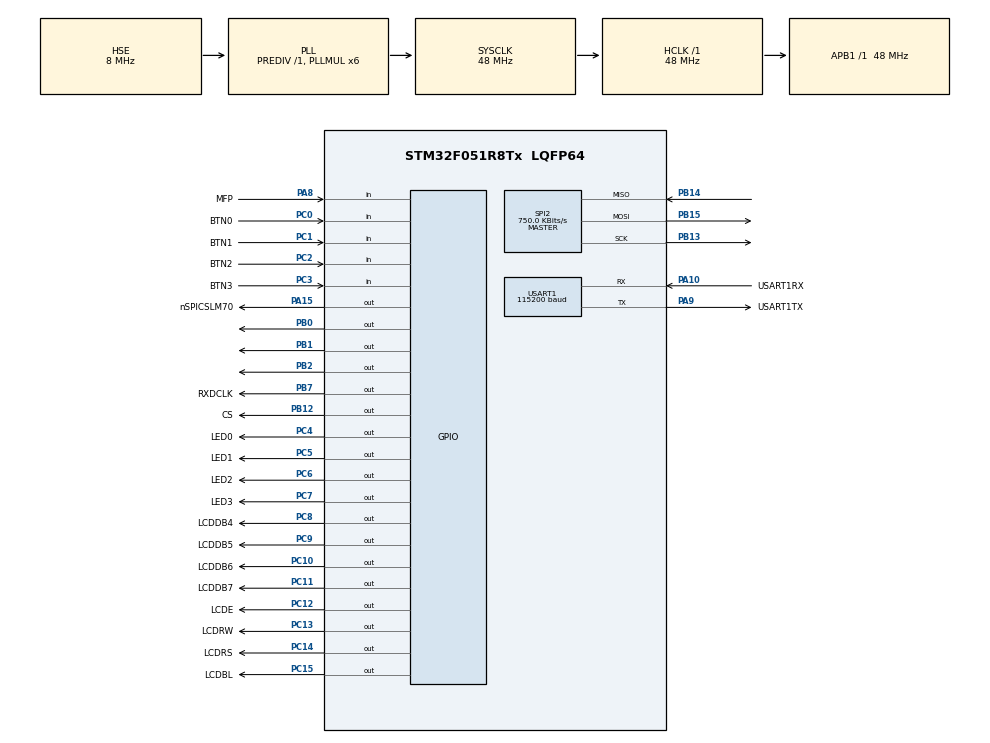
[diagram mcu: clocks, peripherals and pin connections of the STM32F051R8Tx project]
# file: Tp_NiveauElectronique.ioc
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Mcu.Family=STM32F0
Mcu.Name=STM32F051R8Tx
Mcu.Package=LQFP64
NVIC.TIM6_DAC_IRQn=true\:0\:0\:false\:false\:true\:true\:true
PA0.GPIO_Label=AI0
PA0.Signal=ADC_IN0
PA10.GPIO_Label=USART1RX
PA10.Mode=Asynchronous
PA10.Signal=USART1_RX
PA11.GPIO_Label=USART1CTS
PA11.Signal=USART1_CTS
PA12.GPIO_Label=USART1RTS
PA12.Signal=USART1_RTS
PA13.Mode=Serial_Wire
PA13.Signal=SYS_SWDIO
PA14.Mode=Serial_Wire
PA14.Signal=SYS_SWCLK
PA15.GPIO_Label=nSPICSLM70
PA15.PinState=GPIO_PIN_SET
PA15.Signal=GPIO_Output
PA5.GPIO_Label=SPISCK
PA5.Signal=SPI1_SCK
PA6.GPIO_Label=SPIMISO
PA6.Signal=SPI1_MISO
PA7.GPIO_Label=SPIMOSI
PA7.Signal=SPI1_MOSI
PA8.GPIO_Label=MFP
PA8.Signal=GPIO_Input
PA9.GPIO_Label=USART1TX
PA9.Mode=Asynchronous
PA9.Signal=USART1_TX
PB0.Signal=GPIO_Output
PB1.Signal=GPIO_Output
PB12.GPIO_Label=CS
PB12.Signal=GPIO_Output
PB13.GPIO_PuPd=GPIO_NOPULL
PB13.Mode=Full_Duplex_Master
PB13.Signal=SPI2_SCK
PB14.Mode=Full_Duplex_Master
PB14.Signal=SPI2_MISO
PB15.Mode=Full_Duplex_Master
PB15.Signal=SPI2_MOSI
PB2.Signal=GPIO_Output
PB7.GPIO_Label=RXDCLK
PB7.Signal=GPIO_Output
PC0.GPIO_Label=BTN0
PC0.Signal=GPIO_Input
PC1.GPIO_Label=BTN1
PC1.Signal=GPIO_Input
PC10.GPIO_Label=LCDDB6
PC10.Signal=GPIO_Output
PC11.GPIO_Label=LCDDB7
PC11.Signal=GPIO_Output
PC12.GPIO_Label=LCDE
PC12.Signal=GPIO_Output
PC13.GPIO_Label=LCDRW
PC13.Signal=GPIO_Output
PC14-OSC32_IN.GPIO_Label=LCDRS
PC14-OSC32_IN.Signal=GPIO_Output
PC15-OSC32_OUT.GPIO_Label=LCDBL
PC15-OSC32_OUT.Signal=GPIO_Output
PC2.GPIO_Label=BTN2
PC2.Signal=GPIO_Input
PC3.GPIO_Label=BTN3
PC3.Signal=GPIO_Input
PC4.GPIO_Label=LED0
PC4.PinState=GPIO_PIN_SET
PC4.Signal=GPIO_Output
PC5.GPIO_Label=LED1
PC5.PinState=GPIO_PIN_SET
PC5.Signal=GPIO_Output
PC6.GPIO_Label=LED2
PC6.PinState=GPIO_PIN_SET
PC6.Signal=GPIO_Output
PC7.GPIO_Label=LED3
PC7.PinState=GPIO_PIN_SET
PC7.Signal=GPIO_Output
PC8.GPIO_Label=LCDDB4
PC8.Signal=GPIO_Output
PC9.GPIO_Label=LCDDB5
PC9.Signal=GPIO_Output
PF0-OSC_IN.GPIO_Label=OSCIN
PF0-OSC_IN.Mode=HSE-External-Oscillator
PF0-OSC_IN.Signal=RCC_OSC_IN
PF1-OSC_OUT.GPIO_Label=OSCOUT
PF1-OSC_OUT.Mode=HSE-External-Oscillator
PF1-OSC_OUT.Signal=RCC_OSC_OUT
PF6.Signal=I2C2_SCL
PF7.Signal=I2C2_SDA
ProjectManager.HeapSize=0x200
ProjectManager.StackSize=0x400
ProjectManager.TargetToolchain=MDK-ARM V5
RCC.AHBFreq_Value=48000000
RCC.APB1Freq_Value=48000000
RCC.APB1TimFreq_Value=48000000
RCC.EnbaleCSS=true
RCC.HCLKFreq_Value=48000000
RCC.PLLMUL=RCC_PLL_MUL6
RCC.PLLSourceVirtual=RCC_PLLSOURCE_HSE
RCC.SYSCLKFreq_VALUE=48000000
RCC.SYSCLKSource=RCC_SYSCLKSOURCE_PLLCLK
SPI2.BaudRatePrescaler=SPI_BAUDRATEPRESCALER_64
SPI2.CLKPhase=SPI_PHASE_1EDGE
SPI2.CLKPolarity=SPI_POLARITY_LOW
SPI2.CalculateBaudRate=750.0 KBits/s
SPI2.DataSize=SPI_DATASIZE_8BIT
SPI2.Direction=SPI_DIRECTION_2LINES
SPI2.Mode=SPI_MODE_MASTER
SPI2.NSSPMode=SPI_NSS_PULSE_DISABLE
SPI2.VirtualType=VM_MASTER
TIM6.AutoReloadPreload=TIM_AUTORELOAD_PRELOAD_ENABLE
TIM6.Period=99
TIM6.Prescaler=4799
USART1.BaudRate=115200
USART1.VirtualMode-Asynchronous=VM_ASYNC
VP_TIM6_VS_ClockSourceINT.Mode=Enable_Timer
board=test01_blink

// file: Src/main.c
/* USER CODE BEGIN Header */
/**
  ******************************************************************************
  * @file           : main.c
  * @brief          : Main program body
  ******************************************************************************
  * @attention
  *
  * <h2><center>&copy; Copyright (c) 2020 STMicroelectronics.
  * All rights reserved.</center></h2>
  *
  * This software component is licensed by ST under BSD 3-Clause license,
  * the "License"; You may not use this file except in compliance with the
  * License. You may obtain a copy of the License at:
  *                        opensource.org/licenses/BSD-3-Clause
  *
  ******************************************************************************
  */
/* USER CODE END Header */
#include "main.h"
#include "spi.h"
#include "tim.h"
#include "usart.h"
#include "gpio.h"

/* USER CODE BEGIN Includes */

#include "17400.h"
#include "stm32driverlcd.h"
#include "stm32gestSpiLIS3DH.h"
#include "stm32delays.h"
#include "stm32driverlcd.h"
#include "time.h"
#include "stm32f0xx_it.h"
#include <stdlib.h>
#include "math.h"
#include "string.h"
/* USER CODE END Includes */

/* USER CODE BEGIN PTD */

typedef enum { MODE_STD, MODE_CAL} MODES;

/* USER CODE END PTD */

/* USER CODE BEGIN PV */
e_States state = INIT;
/* USER CODE END PV */
char stateLEDREG = 1;
void SystemClock_Config(void);

/* USER CODE BEGIN 0 */
bool flag10Ms;//=false;
static bool InitialisationHasOccured = false;
// ----------------------------------------------------------------
	// *** A COMPLETER ! ***
	// Mettez vos fonctions ici..

// A utility function to reverse a string
void reverse(char str[], int length)
{
    int start = 0;
    int end = length - 1;
    while (start < end) {
        char temp = str[start];
        str[start] = str[end];
        str[end] = temp;
        end--;
        start++;
    }
		//https://www.geeksforgeeks.org/implement-itoa/
}

char* citoa(int16_t num, char* str, int base)
{
    int i = 0;
    bool isNegative = false;

    /* Handle 0 explicitly, otherwise empty string is
     * printed for 0 */
    if (num == 0) {
        str[i++] = '0';
        str[i] = '\0';
        return str;
    }

    // In standard itoa(), negative numbers are handled
    // only with base 10. Otherwise numbers are
    // considered unsigned.
    if (num < 0 && base == 10) {
        isNegative = true;
        num = -num;
    }

    // Process individual digits
    while (num != 0) {
        int rem = num % base;
        str[i++] = (rem > 9) ? (rem - 10) + 'a' : rem + '0';
        num = num / base;
    }

    // If number is negative, append '-'
    if (isNegative)
        str[i++] = '-';

    str[i] = '\0'; // Append string terminator

    // Reverse the string
    reverse(str, i);
    //https://www.geeksforgeeks.org/implement-itoa/
    return str;
}
bool LectureDuFlag10ms(void)
//cette fonction v�rifie si le flag de 10ms est actif pour calculer les timmings demander
//de plus la lecture des entr� est faite lorsque que le flag est actif ce qui permet d'avoir
//une base de temps pour les echantillons du buffer d'entr�e au d�triment du temps de r�action
{

	static uint16_t cntTime = 0;
	//test du flag
	if(flag10Ms)
	{

		flag10Ms=false;
		cntTime++;

		if(cntTime < _3SEC)
		{
		   GPIOC -> ODR &= ~LEDS;
		}
		else
		{
			if (cntTime%_250MSEC == 0)
			{
				stateLEDREG = !stateLEDREG;
				cntTime = _3SEC;
			}
		  InitialisationHasOccured=true;
			GPIOC -> ODR |= LEDS;

			state = EXEC;
		}
		return 1;
	}
	return 0;
}
void initialisation(void)
{
	if (!(InitialisationHasOccured))
	{
		lcd_gotoxy(1,1);
		printf_lcd("TP Niveau El. <2024> ");
		lcd_gotoxy(1,2);
		printf_lcd("VCO ACL");
		lcd_bl_on();
	}
}
int calculAngle(int16_t* pValAcc)
{
	float anle_degree =(atan2(pValAcc[0],pValAcc[2]))*180/PI;
	return anle_degree;

}
void affichageligne1(int16_t *angle)
{
	lcd_gotoxy(1,1);
	printf_lcd("       %3d%1c",*angle,0xDF);

}
void Registreadecalage(int16_t *angle)
{

	/*
 //eteind tout
	GPIOB->ODR &= ~RXDCLK_Pin;
	HAL_SPI_Transmit(&hspi2,(uint8_t*)tx_Buffer2,1,100);
	GPIOB->ODR |= RXDCLK_Pin;
	//allume tout
	GPIOB->ODR &= ~RXDCLK_Pin;
	tx_Buffer2[0] = 0;
	HAL_SPI_Transmit(&hspi2,(uint8_t*)tx_Buffer2,1,100);
	GPIOB->ODR |= RXDCLK_Pin;
	*/

	static char tx_Buffer2[2];
	int16_t index;
  if (*angle < 0)
  {
      index = 9 - abs(*angle); // Pour les angles négatifs, la bulle est plus à gauche
  }
  else
  {
      index = 9 + *angle; // Pour les angles positifs, la bulle est plus à droite
  }

   // Vérifier les limites
  if (index < 0)
  {
    index = 0;
  }
  if (index > 6)
  {
    index = 3;
  }
  switch (*angle)
  {
		case 0:
			tx_Buffer2[0] =AGLE0|0x80;
			break;
		case -1:
			tx_Buffer2[0] =AGLE_1|0x80;
			break;
		case -2:
			tx_Buffer2[0] =AGLE_2|0x80;
			break;
		case -3:
			tx_Buffer2[0] =AGLE_3|0x80;
			break;
		case 1:
			tx_Buffer2[0] =AGLE1|0x80;
			break;
		case 2:
			tx_Buffer2[0] =AGLE2|0x80;
			break;
		case 3:
			 tx_Buffer2[0] =AGLE3|0x80;
			break;
		default:
			 tx_Buffer2[0] =0x7F|(stateLEDREG<<7);
			break;
	}

	GPIOB->ODR &= ~RXDCLK_Pin;
	HAL_SPI_Transmit(&hspi2,(uint8_t*)tx_Buffer2,1,100);
	GPIOB->ODR |= RXDCLK_Pin;

}
void affichageLCD(int16_t *angle)
{
	lcd_clearScreen();
	affichageligne1(&(*angle));
	Registreadecalage(&(*angle));
}

void affichageBulle(int16_t *angle)
{
	static char ligne[19] = "----+----=----+----";
    int16_t index;
    if (*angle < 0)
    {
        index = 9 - abs(*angle); // Pour les angles négatifs, la bulle est plus à gauche
    }
    else
    {
        index = 9 + *angle; // Pour les angles positifs, la bulle est plus à droite
    }

    // Vérifier les limites
    if (index < 0)
    {
      index = 0;
    }
    if (index > 18)
    {
      index = 18;
    }

    // Réinitialiser la ligne
    strcpy(ligne, "----+----=----+----");

    // Placer la bulle
    ligne[index] = 'O';

    // Afficher la ligne
        lcd_gotoxy(1,2);
    printf_lcd("%s\n", ligne);

}
void transmitpc(int16_t *angle)
{
	char tb_affichage[SIZE] ={0};
	char tb_end[]={'d',0x0D,'\0'};
	char nbDigit;
	char retval=0;

	nbDigit=(abs(*angle) <10)? 1:(abs(*angle) <100)?2:3;
	citoa(abs(*angle), &tb_affichage[1], 10);
	strcat(&tb_affichage[nbDigit],tb_end);
	if((uint16_t)*angle < MAXNMAX)
	{
		tb_affichage[0]='+';
	}
	else
	{
		tb_affichage[0]='-';
	}

	for(int i=0; i <= (nbDigit+4);i++ )
	{
	  retval=HAL_UART_Transmit(&huart1,(uint8_t*) tb_affichage,(nbDigit+3),100);
	}

}
void execution (int16_t* pValAcc)
{

	int16_t angle=0;
	LIS3DH_ReadAcc(pValAcc);
	angle=calculAngle(pValAcc);
	affichageLCD(&angle);
	affichageBulle(&angle);
	transmitpc(&angle);
}
// ----------------------------------------------------------------

/* USER CODE END 0 */

int main(void)
{
  /* USER CODE BEGIN 1 */
	//variables
	// *** A COMPLETER ! ***

	//init
	// *** A COMPLETER ! ***

  /* USER CODE END 1 */

  /* MCU Configuration--------------------------------------------------------*/

  /* Reset of all peripherals, Initializes the Flash interface and the Systick. */
  HAL_Init();

  /* Configure the system clock */
  SystemClock_Config();

  /* Initialize all configured peripherals */
  MX_GPIO_Init();
  MX_TIM6_Init();
  MX_USART1_UART_Init();
  MX_SPI2_Init();
  /* USER CODE BEGIN 2 */
	LIS3DH_Init();
	HAL_TIM_Base_Start_IT(&htim6);
	lcd_init();
  /* USER CODE END 2 */

  /* Infinite loop */
  /* USER CODE BEGIN WHILE */
	int16_t pValAcc[NBAXES];

  while (1)
  {
    /* USER CODE END WHILE */

    /* USER CODE BEGIN 3 */
		/* TEST
		if(LectureDuFlag10ms())
		{

			//LIS3DH_Read(0x0F,&value);

		}
		*//*
		GPIOB->ODR ^= RXDCLK_Pin;

		GPIOB->ODR ^= RXDCLK_Pin;*/
		// *** A COMPLETER ! ***
		switch(state)
		{
			case INIT:
				state = IDLE;
				initialisation();
				break;
			case EXEC:

				execution(pValAcc);
				state = IDLE;
				break;
			case IDLE:
				break;
			default:
				break;
		}
		LectureDuFlag10ms();
  }
  /* USER CODE END 3 */
}

void SystemClock_Config(void)
{
  RCC_OscInitTypeDef RCC_OscInitStruct = {0};
  RCC_ClkInitTypeDef RCC_ClkInitStruct = {0};
  RCC_PeriphCLKInitTypeDef PeriphClkInit = {0};

  /** Initializes the RCC Oscillators according to the specified parameters
  * in the RCC_OscInitTypeDef structure.
  */
  RCC_OscInitStruct.OscillatorType = RCC_OSCILLATORTYPE_HSE;
  RCC_OscInitStruct.HSEState = RCC_HSE_ON;
  RCC_OscInitStruct.PLL.PLLState = RCC_PLL_ON;
  RCC_OscInitStruct.PLL.PLLSource = RCC_PLLSOURCE_HSE;
  RCC_OscInitStruct.PLL.PLLMUL = RCC_PLL_MUL6;
  RCC_OscInitStruct.PLL.PREDIV = RCC_PREDIV_DIV1;
  if (HAL_RCC_OscConfig(&RCC_OscInitStruct) != HAL_OK)
  {
    Error_Handler();
  }
  /** Initializes the CPU, AHB and APB buses clocks
  */
  RCC_ClkInitStruct.ClockType = RCC_CLOCKTYPE_HCLK|RCC_CLOCKTYPE_SYSCLK
                              |RCC_CLOCKTYPE_PCLK1;
  RCC_ClkInitStruct.SYSCLKSource = RCC_SYSCLKSOURCE_PLLCLK;
  RCC_ClkInitStruct.AHBCLKDivider = RCC_SYSCLK_DIV1;
  RCC_ClkInitStruct.APB1CLKDivider = RCC_HCLK_DIV1;

  if (HAL_RCC_ClockConfig(&RCC_ClkInitStruct, FLASH_LATENCY_1) != HAL_OK)
  {
    Error_Handler();
  }
  PeriphClkInit.PeriphClockSelection = RCC_PERIPHCLK_USART1;
  PeriphClkInit.Usart1ClockSelection = RCC_USART1CLKSOURCE_PCLK1;
  if (HAL_RCCEx_PeriphCLKConfig(&PeriphClkInit) != HAL_OK)
  {
    Error_Handler();
  }
  /** Enables the Clock Security System
  */
  HAL_RCC_EnableCSS();
}

void Error_Handler(void)
{
}

/************************ (C) COPYRIGHT STMicroelectronics *****END OF FILE****/
